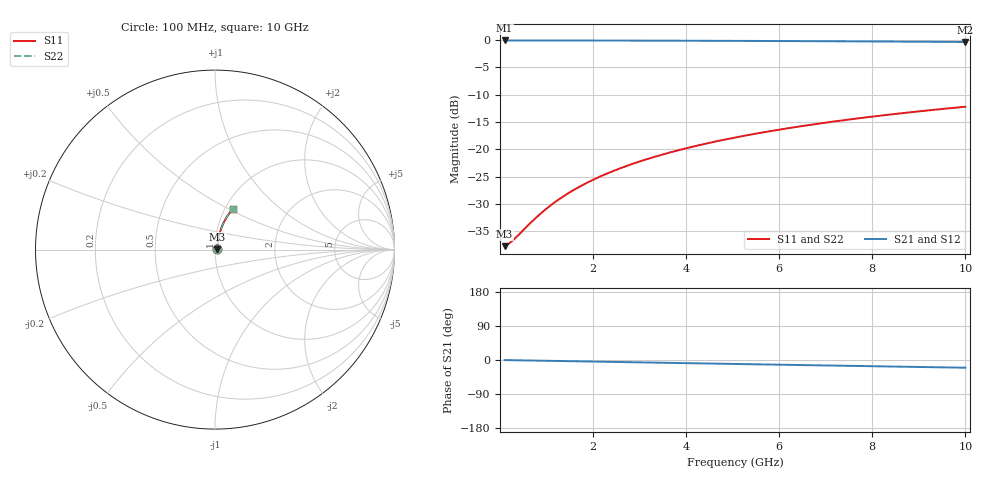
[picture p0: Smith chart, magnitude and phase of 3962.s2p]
# Hz S RI R 50.00
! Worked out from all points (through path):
!   100 points, 100 MHz to 10 GHz, reference 50 ohm
!   highest |S21| = -0.11 dB at 100 MHz (marker M1); lowest = -0.4 dB at 10 GHz (marker M2)
!   group delay of S21, straight-line fit = 5.66 ps
!   lowest |S11| = -37.7 dB at 100 MHz (marker M3), VSWR 1.03, Z = 51.3 + j0.256 ohm
!   |S11| at or under -10 dB: start of sweep to end of sweep
!   |S22| runs from -37.7 to -12.2 dB; largest |S21 - S12| = 0
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1e8  0.0127 0.0025  0.9872 -0.00358  0.9872 -0.00358  0.0127 0.0025
2e8  0.0129 0.005  0.9871 -0.00715  0.9871 -0.00715  0.0129 0.005
3e8  0.013 0.00749  0.987 -0.0107  0.987 -0.0107  0.013 0.00749
8e8  0.0137 0.02  0.9863 -0.0286  0.9863 -0.0286  0.0137 0.02
9e8  0.0138 0.0225  0.9861 -0.0321  0.9861 -0.0321  0.0138 0.0225
1.1e9  0.0142 0.0274  0.9857 -0.0393  0.9857 -0.0393  0.0142 0.0274
1.4e9  0.015 0.0349  0.9849 -0.05  0.9849 -0.05  0.015 0.0349
1.6e9  0.0156 0.0398  0.9843 -0.0571  0.9843 -0.0571  0.0156 0.0398
1.8e9  0.0162 0.0448  0.9836 -0.0642  0.9836 -0.0642  0.0162 0.0448
2.1e9  0.0173 0.0522  0.9824 -0.0748  0.9824 -0.0748  0.0173 0.0522
2.5e9  0.019 0.062  0.9806 -0.0889  0.9806 -0.0889  0.019 0.062
2.9e9  0.021 0.0717  0.9785 -0.103  0.9785 -0.103  0.021 0.0717
3.4e9  0.0239 0.0838  0.9754 -0.1204  0.9754 -0.1204  0.0239 0.0838
3.8e9  0.0265 0.0933  0.9726 -0.1343  0.9726 -0.1343  0.0265 0.0933
4.2e9  0.0293 0.1028  0.9696 -0.1481  0.9696 -0.1481  0.0293 0.1028
4.6e9  0.0325 0.1121  0.9663 -0.1618  0.9663 -0.1618  0.0325 0.1121
5.1e9  0.0367 0.1237  0.9617 -0.1787  0.9617 -0.1787  0.0367 0.1237
5.9e9  0.0444 0.1417  0.9535 -0.2054  0.9535 -0.2054  0.0444 0.1417
6.7e9  0.053 0.1592  0.9443 -0.2316  0.9443 -0.2316  0.053 0.1592
7.5e9  0.0625 0.1761  0.9341 -0.2571  0.9341 -0.2571  0.0625 0.1761
8.4e9  0.0743 0.1943  0.9215 -0.2851  0.9215 -0.2851  0.0743 0.1943
1e10  0.0976 0.2243  0.8964 -0.3325  0.8964 -0.3325  0.0976 0.2243
